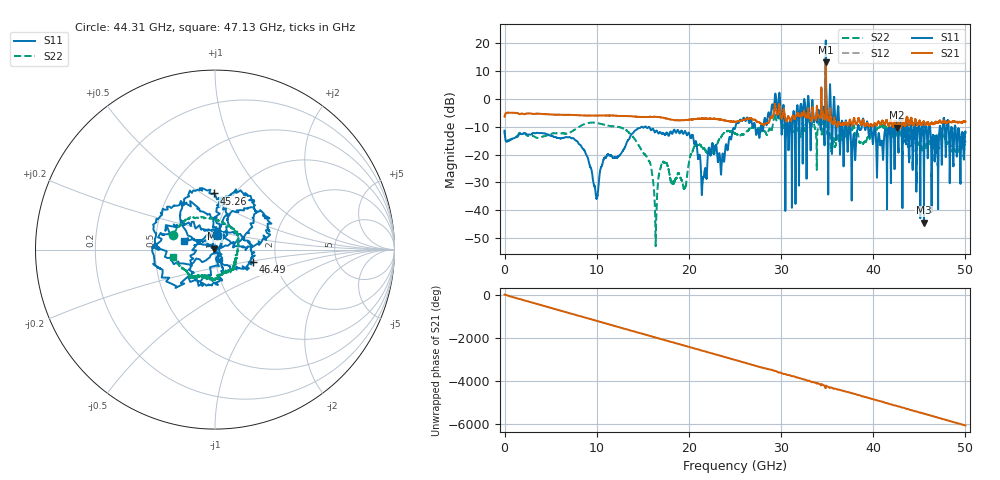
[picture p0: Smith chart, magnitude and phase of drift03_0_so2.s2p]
!Created with skrf (http://scikit-rf.org).
# Hz S RI R 50.0
!freq ReS11 ImS11 ReS21 ImS21 ReS12 ImS12 ReS22 ImS22
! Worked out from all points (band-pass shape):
!   10001 points, 300 kHz to 50 GHz, reference 50 ohm
!   highest |S21| = 13.04 dB at 34.85 GHz (marker M1); lowest = -10.4 dB at 42.56 GHz (marker M2)
!   |S21| within 3 dB of the highest: 34.83992 GHz to 34.85353 GHz (13.61 MHz wide, 0.0391 % of centre)
!   lowest |S11| = -44.4 dB at 45.51 GHz (marker M3), VSWR 1.01, Z = 49.7 + j0.514 ohm
!   |S11| at or under -10 dB: start of sweep to 15.22 GHz; 15.31 GHz to 25.05 GHz (9.74 GHz wide, 48.3 % of centre); 40.22 GHz to 41.71 GHz (1.491 GHz wide, 3.64 % of centre) (the widest 3 of 65)
!   |S22| runs from -52.8 to 4.5 dB; largest |S21 - S12| = 0.71
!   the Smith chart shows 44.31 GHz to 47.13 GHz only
!   S11 on the Smith chart (normalised r, x): 44.31 GHz: 1.00, +0.16; 45.26 GHz: 0.81, +0.56; 46.49 GHz: 1.51, -0.22; 47.13 GHz: 0.70, +0.07
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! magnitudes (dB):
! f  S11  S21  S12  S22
! 300 kHz  -11.5  -6.4  -6.5  -11.3
! 8.335 GHz  -17.1  -6.0  -6.0  -9.6
! 9.955 GHz  -35.6  -6.1  -6.1  -8.7
! 11 GHz  -21.0  -6.1  -6.0  -9.5
! 16.67 GHz  -12.4  -6.6  -6.5  -29.0
! 17.32 GHz  -12.6  -7.0  -7.0  -22.9
! 19.53 GHz  -11.8  -7.7  -7.7  -32.1
! 20.21 GHz  -14.0  -7.5  -7.5  -20.0
! 21.56 GHz  -28.3  -7.2  -7.2  -17.8
! 25 GHz  -10.6  -8.3  -8.3  -12.5
! 33.34 GHz  -3.9  -7.2  -7.1  -9.6
! 34.85 GHz  20.8  13.0  12.6  4.5
! 37.85 GHz  -13.2  -8.0  -8.0  -9.7
! 38.84 GHz  -8.0  -7.9  -8.0  -15.9
! 41.67 GHz  -10.4  -9.7  -9.6  -11.6
! 42.56 GHz  -8.6  -10.4  -10.6  -13.0
! 44.31 GHz  -21.8  -9.4  -9.4  -12.2
! 45.26 GHz  -10.1  -9.4  -9.4  -18.1
! 45.51 GHz  -44.4  -8.4  -8.4  -16.9
! 46.49 GHz  -13.1  -9.2  -9.0  -14.7
! 47.13 GHz  -15.0  -8.3  -8.4  -12.6
! 50 GHz  -11.9  -8.3  -8.3  -15.5
